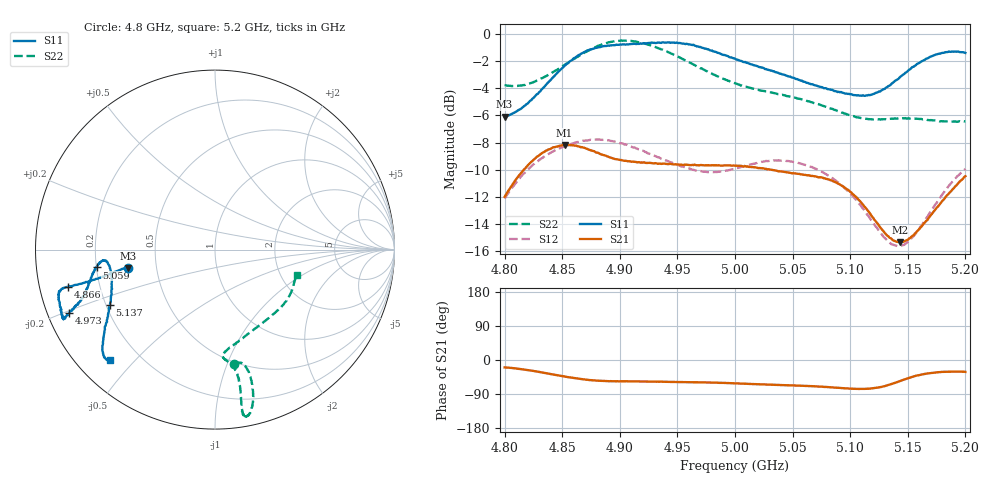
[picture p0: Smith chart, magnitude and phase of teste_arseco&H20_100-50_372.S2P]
! Network Analyzer HP8722D
! Hewlett-Packard
! Data name: Linha & Wilkinson
! Saver's name: Rodrigo Anjos
! Comments: Teste da utilização de aquisição
! continua pelo VNA HP8722D
! Time and date: 6/5/2025 15:40
!  Frequency  S11  S21  S12  S22
# HZ  S  MA R 50
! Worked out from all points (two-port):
!   401 points, 4.8 GHz to 5.2 GHz, reference 50 ohm
!   highest |S21| = -8.18 dB at 4.852 GHz (marker M1); lowest = -15.3 dB at 5.143 GHz (marker M2)
!   |S21| within 3 dB of the highest: 4.806 GHz to 5.093 GHz (286.7 MHz wide, 5.79 % of centre); 5.191789 GHz to end of sweep
!   lowest |S11| = -6.1 dB at 4.8 GHz (marker M3), VSWR 2.97, Z = 17 - j4.6 ohm
!   |S11| at or under -10 dB: nowhere
!   |S22| runs from -6.5 to -0.5 dB; largest |S21 - S12| = 0.62
!   S11 on the Smith chart (normalised r, x): 4.8 GHz: 0.34, -0.09; 4.866 GHz: 0.09, -0.12; 4.973 GHz: 0.06, -0.21; 5.059 GHz: 0.20, -0.07; 5.137 GHz: 0.22, -0.24; 5.2 GHz: 0.10, -0.43
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4.8e9  0.4959 -168.1  0.2515 -19.6  0.2482 -140.8  0.6479 -80.4
4.825e9  0.581 -167.3  0.3434 -29.0  0.3313 -144.1  0.6639 -75.6
4.852e9  0.7632 -165.8  0.39 -43.7  0.3871 -149.3  0.7684 -74.5
4.866e9  0.8435 -165.9  0.3829 -50.1  0.4021 -151.7  0.8367 -75.3
4.867e9  0.8477 -165.7  0.3834 -50.7  0.4033 -151.8  0.8418 -75.4
4.883e9  0.8944 -164.9  0.3615 -54.9  0.4084 -154.6  0.9092 -77.1
4.902e9  0.9143 -162.3  0.3427 -56.2  0.3958 -156.7  0.9442 -79.3
4.934e9  0.9291 -156.4  0.333 -57.4  0.3515 -155.5  0.8833 -80.4
4.949e9  0.9284 -155.4  0.3315 -57.9  0.3315 -152.9  0.8303 -80.1
4.973e9  0.8867 -156.5  0.329 -59.2  0.311 -145.8  0.7383 -79.6
5e9  0.8109 -158.9  0.3276 -61.6  0.3197 -137.1  0.6586 -81.2
5.036e9  0.7227 -165.5  0.314 -65.9  0.3425 -134.3  0.6031 -85.6
5.059e9  0.6672 -171.4  0.3037 -68.0  0.3315 -135.9  0.5719 -84.5
5.067e9  0.6535 -173.1  0.3003 -69.1  0.3238 -136.6  0.5601 -82.7
5.086e9  0.6166 -174.4  0.2861 -72.8  0.2918 -138.4  0.5256 -75.3
5.103e9  0.5957 -171.5  0.2558 -76.0  0.2507 -138.6  0.4982 -65.2
5.134e9  0.645 -154.1  0.1782 -65.4  0.171 -120.8  0.487 -43.5
5.137e9  0.6607 -152.3  0.1743 -62.4  0.1682 -117.0  0.4877 -41.6
5.143e9  0.6921 -149.3  0.1709 -55.9  0.1656 -109.0  0.4885 -38.1
5.154e9  0.7555 -144.4  0.1807 -44.3  0.1786 -95.1  0.4883 -32.3
5.172e9  0.8327 -138.8  0.2209 -33.5  0.2292 -81.0  0.4804 -24.5
5.2e9  0.8512 -133.5  0.2997 -31.3  0.3191 -76.8  0.4774 -17.6
